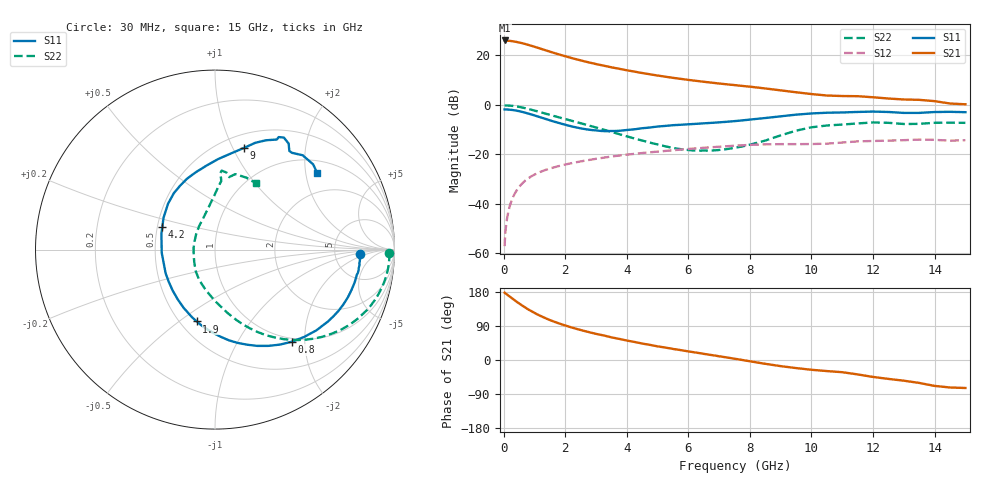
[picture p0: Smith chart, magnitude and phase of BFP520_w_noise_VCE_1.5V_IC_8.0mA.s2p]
! Infineon Technologies  Discrete & RF Semiconductors
! BFP520
! VCE =  1.5 V,  IC =  8.0 mA
! Common Emitter S-Parameters:  Oct 2015
# GHz  S  MA  R  50
!  f  S11  S21  S12  S22
! GHz  MAG  ANG  MAG  ANG  MAG  ANG  MAG  ANG
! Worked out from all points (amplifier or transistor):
!   109 points, 30 MHz to 15 GHz, reference 50 ohm
!   highest |S21| = 26.0 dB at 30 MHz (marker M1)
!   |S21| within 3 dB of that: start of sweep to 1.117 GHz
!   unconditionally stable (mu >= 1): 3.633 GHz to end of sweep
!   at 450 MHz: K = 0.18, MSG = 29.7 dB, |S12| = -34.0 dB
!   at 4 GHz: K = 1.04, MAG = 15.8 dB, |S12| = -20.1 dB
!   at 15 GHz: K = 1.33, MAG = 3.8 dB, |S12| = -14.3 dB
!   lowest NFmin = 1.40 dB at 900 MHz
!   S11 on the Smith chart (normalised r, x): 30 MHz: 9.34, -1.38; 800 MHz: 0.94, -1.74; 1.9 GHz: 0.60, -0.58; 4.2 GHz: 0.53, +0.15; 9 GHz: 0.64, +1.10; 15 GHz: 1.33, +2.32
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0.03  0.8103 -1.8  20.03 177.7  0.0014 94.0  0.9684 -1.0
0.11  0.8074 -7.3  19.79 172.8  0.0051 86.6  0.9717 -4.7
0.25  0.7929 -16.6  19.47 164.1  0.0113 82.0  0.9596 -11.0
0.45  0.7572 -29.4  18.52 152.1  0.0199 75.9  0.9231 -19.6
0.6  0.7219 -38.6  17.64 143.8  0.0258 71.8  0.8853 -25.6
0.8  0.6682 -50.2  16.29 133.4  0.0329 66.8  0.8282 -32.9
1.1  0.5859 -66.3  14.29 120.1  0.0419 60.8  0.7392 -42.2
1.4  0.5118 -81.2  12.46 108.9  0.0495 56.1  0.6552 -50.0
1.6  0.4666 -90.7  11.38 102.3  0.054 53.6  0.6046 -54.6
1.9  0.4128 -104.3  10.01 93.7  0.0603 50.3  0.5379 -60.7
2.2  0.3693 -118.0  8.864 86.0  0.0664 47.5  0.4791 -66.2
2.6  0.3277 -136.2  7.646 77.0  0.074 44.0  0.41 -73.1
3  0.3054 -154.1  6.687 68.9  0.0815 40.8  0.3491 -80.1
3.5  0.2973 -176.6  5.748 59.8  0.0905 36.6  0.285 -90.2
4.2  0.319 157.0  4.756 48.4  0.1019 30.7  0.2137 -108.0
5.1  0.3697 133.6  3.836 34.7  0.1152 23.6  0.1533 -136.0
6.2  0.4125 115.7  3.089 20.2  0.1316 15.1  0.1199 -173.1
7.6  0.4763 94.2  2.473 2.1  0.1508 3.1  0.139 137.1
9  0.5874 74.3  1.967 -16.2  0.1611 -10.3  0.2421 98.0
10.5  0.6946 61.8  1.546 -29.2  0.1648 -18.5  0.3833 84.8
13  0.6883 53.0  1.286 -54.6  0.1939 -38.4  0.4113 78.9
15  0.712 37.0  1.029 -73.9  0.1938 -54.1  0.4338 58.5
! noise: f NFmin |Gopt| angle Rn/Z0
0.45  1.42  0.36  1  0.29
0.9  1.4  0.34  8  0.32
1.9  1.59  0.3  17  0.26
2.4  1.61  0.26  29  0.27
3.5  1.56  0.24  52  0.26
